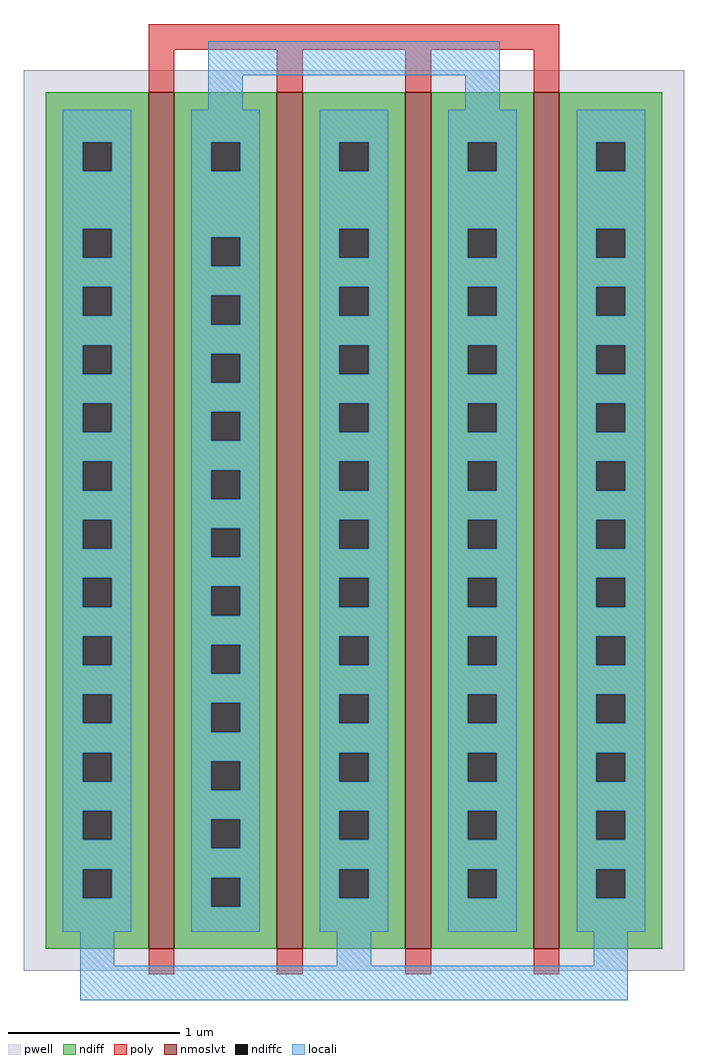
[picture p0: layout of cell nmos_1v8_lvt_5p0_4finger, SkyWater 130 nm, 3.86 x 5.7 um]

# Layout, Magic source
magic
tech sky130A
magscale 1 2
<< pwell >>
rect -1136 -6 -364 1046
<< nmoslvt >>
rect -990 20 -960 1020
rect -840 20 -810 1020
rect -690 20 -660 1020
rect -540 20 -510 1020
<< ndiff >>
rect -1110 962 -990 1020
rect -1110 928 -1067 962
rect -1033 928 -990 962
rect -1110 861 -990 928
rect -1110 827 -1067 861
rect -1033 827 -990 861
rect -1110 793 -990 827
rect -1110 759 -1067 793
rect -1033 759 -990 793
rect -1110 725 -990 759
rect -1110 691 -1067 725
rect -1033 691 -990 725
rect -1110 657 -990 691
rect -1110 623 -1067 657
rect -1033 623 -990 657
rect -1110 589 -990 623
rect -1110 555 -1067 589
rect -1033 555 -990 589
rect -1110 521 -990 555
rect -1110 487 -1067 521
rect -1033 487 -990 521
rect -1110 453 -990 487
rect -1110 419 -1067 453
rect -1033 419 -990 453
rect -1110 385 -990 419
rect -1110 351 -1067 385
rect -1033 351 -990 385
rect -1110 317 -990 351
rect -1110 283 -1067 317
rect -1033 283 -990 317
rect -1110 249 -990 283
rect -1110 215 -1067 249
rect -1033 215 -990 249
rect -1110 181 -990 215
rect -1110 147 -1067 181
rect -1033 147 -990 181
rect -1110 113 -990 147
rect -1110 79 -1067 113
rect -1033 79 -990 113
rect -1110 20 -990 79
rect -960 962 -840 1020
rect -960 928 -917 962
rect -883 928 -840 962
rect -960 851 -840 928
rect -960 817 -917 851
rect -883 817 -840 851
rect -960 783 -840 817
rect -960 749 -917 783
rect -883 749 -840 783
rect -960 715 -840 749
rect -960 681 -917 715
rect -883 681 -840 715
rect -960 647 -840 681
rect -960 613 -917 647
rect -883 613 -840 647
rect -960 579 -840 613
rect -960 545 -917 579
rect -883 545 -840 579
rect -960 511 -840 545
rect -960 477 -917 511
rect -883 477 -840 511
rect -960 443 -840 477
rect -960 409 -917 443
rect -883 409 -840 443
rect -960 375 -840 409
rect -960 341 -917 375
rect -883 341 -840 375
rect -960 307 -840 341
rect -960 273 -917 307
rect -883 273 -840 307
rect -960 239 -840 273
rect -960 205 -917 239
rect -883 205 -840 239
rect -960 171 -840 205
rect -960 137 -917 171
rect -883 137 -840 171
rect -960 103 -840 137
rect -960 69 -917 103
rect -883 69 -840 103
rect -960 20 -840 69
rect -810 962 -690 1020
rect -810 928 -767 962
rect -733 928 -690 962
rect -810 861 -690 928
rect -810 827 -767 861
rect -733 827 -690 861
rect -810 793 -690 827
rect -810 759 -767 793
rect -733 759 -690 793
rect -810 725 -690 759
rect -810 691 -767 725
rect -733 691 -690 725
rect -810 657 -690 691
rect -810 623 -767 657
rect -733 623 -690 657
rect -810 589 -690 623
rect -810 555 -767 589
rect -733 555 -690 589
rect -810 521 -690 555
rect -810 487 -767 521
rect -733 487 -690 521
rect -810 453 -690 487
rect -810 419 -767 453
rect -733 419 -690 453
rect -810 385 -690 419
rect -810 351 -767 385
rect -733 351 -690 385
rect -810 317 -690 351
rect -810 283 -767 317
rect -733 283 -690 317
rect -810 249 -690 283
rect -810 215 -767 249
rect -733 215 -690 249
rect -810 181 -690 215
rect -810 147 -767 181
rect -733 147 -690 181
rect -810 113 -690 147
rect -810 79 -767 113
rect -733 79 -690 113
rect -810 20 -690 79
rect -660 962 -540 1020
rect -660 928 -617 962
rect -583 928 -540 962
rect -660 861 -540 928
rect -660 827 -617 861
rect -583 827 -540 861
rect -660 793 -540 827
rect -660 759 -617 793
rect -583 759 -540 793
rect -660 725 -540 759
rect -660 691 -617 725
rect -583 691 -540 725
rect -660 657 -540 691
rect -660 623 -617 657
rect -583 623 -540 657
rect -660 589 -540 623
rect -660 555 -617 589
rect -583 555 -540 589
rect -660 521 -540 555
rect -660 487 -617 521
rect -583 487 -540 521
rect -660 453 -540 487
rect -660 419 -617 453
rect -583 419 -540 453
rect -660 385 -540 419
rect -660 351 -617 385
rect -583 351 -540 385
rect -660 317 -540 351
rect -660 283 -617 317
rect -583 283 -540 317
rect -660 249 -540 283
rect -660 215 -617 249
rect -583 215 -540 249
rect -660 181 -540 215
rect -660 147 -617 181
rect -583 147 -540 181
rect -660 113 -540 147
rect -660 79 -617 113
rect -583 79 -540 113
rect -660 20 -540 79
rect -510 962 -390 1020
rect -510 928 -467 962
rect -433 928 -390 962
rect -510 861 -390 928
rect -510 827 -467 861
rect -433 827 -390 861
rect -510 793 -390 827
rect -510 759 -467 793
rect -433 759 -390 793
rect -510 725 -390 759
rect -510 691 -467 725
rect -433 691 -390 725
rect -510 657 -390 691
rect -510 623 -467 657
rect -433 623 -390 657
rect -510 589 -390 623
rect -510 555 -467 589
rect -433 555 -390 589
rect -510 521 -390 555
rect -510 487 -467 521
rect -433 487 -390 521
rect -510 453 -390 487
rect -510 419 -467 453
rect -433 419 -390 453
rect -510 385 -390 419
rect -510 351 -467 385
rect -433 351 -390 385
rect -510 317 -390 351
rect -510 283 -467 317
rect -433 283 -390 317
rect -510 249 -390 283
rect -510 215 -467 249
rect -433 215 -390 249
rect -510 181 -390 215
rect -510 147 -467 181
rect -433 147 -390 181
rect -510 113 -390 147
rect -510 79 -467 113
rect -433 79 -390 113
rect -510 20 -390 79
<< ndiffc >>
rect -1067 928 -1033 962
rect -1067 827 -1033 861
rect -1067 759 -1033 793
rect -1067 691 -1033 725
rect -1067 623 -1033 657
rect -1067 555 -1033 589
rect -1067 487 -1033 521
rect -1067 419 -1033 453
rect -1067 351 -1033 385
rect -1067 283 -1033 317
rect -1067 215 -1033 249
rect -1067 147 -1033 181
rect -1067 79 -1033 113
rect -917 928 -883 962
rect -917 817 -883 851
rect -917 749 -883 783
rect -917 681 -883 715
rect -917 613 -883 647
rect -917 545 -883 579
rect -917 477 -883 511
rect -917 409 -883 443
rect -917 341 -883 375
rect -917 273 -883 307
rect -917 205 -883 239
rect -917 137 -883 171
rect -917 69 -883 103
rect -767 928 -733 962
rect -767 827 -733 861
rect -767 759 -733 793
rect -767 691 -733 725
rect -767 623 -733 657
rect -767 555 -733 589
rect -767 487 -733 521
rect -767 419 -733 453
rect -767 351 -733 385
rect -767 283 -733 317
rect -767 215 -733 249
rect -767 147 -733 181
rect -767 79 -733 113
rect -617 928 -583 962
rect -617 827 -583 861
rect -617 759 -583 793
rect -617 691 -583 725
rect -617 623 -583 657
rect -617 555 -583 589
rect -617 487 -583 521
rect -617 419 -583 453
rect -617 351 -583 385
rect -617 283 -583 317
rect -617 215 -583 249
rect -617 147 -583 181
rect -617 79 -583 113
rect -467 928 -433 962
rect -467 827 -433 861
rect -467 759 -433 793
rect -467 691 -433 725
rect -467 623 -433 657
rect -467 555 -433 589
rect -467 487 -433 521
rect -467 419 -433 453
rect -467 351 -433 385
rect -467 283 -433 317
rect -467 215 -433 249
rect -467 147 -433 181
rect -467 79 -433 113
<< poly >>
rect -990 1070 -510 1100
rect -990 1020 -960 1070
rect -840 1020 -810 1070
rect -690 1020 -660 1070
rect -540 1020 -510 1070
rect -990 -10 -960 20
rect -840 -10 -810 20
rect -690 -10 -660 20
rect -540 -10 -510 20
<< locali >>
rect -920 1040 -580 1080
rect -920 1000 -880 1040
rect -620 1000 -580 1040
rect -1090 962 -1010 1000
rect -1090 928 -1067 962
rect -1033 928 -1010 962
rect -1090 861 -1010 928
rect -1090 827 -1067 861
rect -1033 827 -1010 861
rect -1090 793 -1010 827
rect -1090 759 -1067 793
rect -1033 759 -1010 793
rect -1090 725 -1010 759
rect -1090 691 -1067 725
rect -1033 691 -1010 725
rect -1090 657 -1010 691
rect -1090 623 -1067 657
rect -1033 623 -1010 657
rect -1090 589 -1010 623
rect -1090 555 -1067 589
rect -1033 555 -1010 589
rect -1090 521 -1010 555
rect -1090 487 -1067 521
rect -1033 487 -1010 521
rect -1090 453 -1010 487
rect -1090 419 -1067 453
rect -1033 419 -1010 453
rect -1090 385 -1010 419
rect -1090 351 -1067 385
rect -1033 351 -1010 385
rect -1090 317 -1010 351
rect -1090 283 -1067 317
rect -1033 283 -1010 317
rect -1090 249 -1010 283
rect -1090 215 -1067 249
rect -1033 215 -1010 249
rect -1090 181 -1010 215
rect -1090 147 -1067 181
rect -1033 147 -1010 181
rect -1090 113 -1010 147
rect -1090 79 -1067 113
rect -1033 79 -1010 113
rect -1090 40 -1010 79
rect -940 962 -860 1000
rect -940 928 -917 962
rect -883 928 -860 962
rect -940 851 -860 928
rect -940 817 -917 851
rect -883 817 -860 851
rect -940 783 -860 817
rect -940 749 -917 783
rect -883 749 -860 783
rect -940 715 -860 749
rect -940 681 -917 715
rect -883 681 -860 715
rect -940 647 -860 681
rect -940 613 -917 647
rect -883 613 -860 647
rect -940 579 -860 613
rect -940 545 -917 579
rect -883 545 -860 579
rect -940 511 -860 545
rect -940 477 -917 511
rect -883 477 -860 511
rect -940 443 -860 477
rect -940 409 -917 443
rect -883 409 -860 443
rect -940 375 -860 409
rect -940 341 -917 375
rect -883 341 -860 375
rect -940 307 -860 341
rect -940 273 -917 307
rect -883 273 -860 307
rect -940 239 -860 273
rect -940 205 -917 239
rect -883 205 -860 239
rect -940 171 -860 205
rect -940 137 -917 171
rect -883 137 -860 171
rect -940 103 -860 137
rect -940 69 -917 103
rect -883 69 -860 103
rect -940 40 -860 69
rect -790 962 -710 1000
rect -790 928 -767 962
rect -733 928 -710 962
rect -790 861 -710 928
rect -790 827 -767 861
rect -733 827 -710 861
rect -790 793 -710 827
rect -790 759 -767 793
rect -733 759 -710 793
rect -790 725 -710 759
rect -790 691 -767 725
rect -733 691 -710 725
rect -790 657 -710 691
rect -790 623 -767 657
rect -733 623 -710 657
rect -790 589 -710 623
rect -790 555 -767 589
rect -733 555 -710 589
rect -790 521 -710 555
rect -790 487 -767 521
rect -733 487 -710 521
rect -790 453 -710 487
rect -790 419 -767 453
rect -733 419 -710 453
rect -790 385 -710 419
rect -790 351 -767 385
rect -733 351 -710 385
rect -790 317 -710 351
rect -790 283 -767 317
rect -733 283 -710 317
rect -790 249 -710 283
rect -790 215 -767 249
rect -733 215 -710 249
rect -790 181 -710 215
rect -790 147 -767 181
rect -733 147 -710 181
rect -790 113 -710 147
rect -790 79 -767 113
rect -733 79 -710 113
rect -790 40 -710 79
rect -640 962 -560 1000
rect -640 928 -617 962
rect -583 928 -560 962
rect -640 861 -560 928
rect -640 827 -617 861
rect -583 827 -560 861
rect -640 793 -560 827
rect -640 759 -617 793
rect -583 759 -560 793
rect -640 725 -560 759
rect -640 691 -617 725
rect -583 691 -560 725
rect -640 657 -560 691
rect -640 623 -617 657
rect -583 623 -560 657
rect -640 589 -560 623
rect -640 555 -617 589
rect -583 555 -560 589
rect -640 521 -560 555
rect -640 487 -617 521
rect -583 487 -560 521
rect -640 453 -560 487
rect -640 419 -617 453
rect -583 419 -560 453
rect -640 385 -560 419
rect -640 351 -617 385
rect -583 351 -560 385
rect -640 317 -560 351
rect -640 283 -617 317
rect -583 283 -560 317
rect -640 249 -560 283
rect -640 215 -617 249
rect -583 215 -560 249
rect -640 181 -560 215
rect -640 147 -617 181
rect -583 147 -560 181
rect -640 113 -560 147
rect -640 79 -617 113
rect -583 79 -560 113
rect -640 40 -560 79
rect -490 962 -410 1000
rect -490 928 -467 962
rect -433 928 -410 962
rect -490 861 -410 928
rect -490 827 -467 861
rect -433 827 -410 861
rect -490 793 -410 827
rect -490 759 -467 793
rect -433 759 -410 793
rect -490 725 -410 759
rect -490 691 -467 725
rect -433 691 -410 725
rect -490 657 -410 691
rect -490 623 -467 657
rect -433 623 -410 657
rect -490 589 -410 623
rect -490 555 -467 589
rect -433 555 -410 589
rect -490 521 -410 555
rect -490 487 -467 521
rect -433 487 -410 521
rect -490 453 -410 487
rect -490 419 -467 453
rect -433 419 -410 453
rect -490 385 -410 419
rect -490 351 -467 385
rect -433 351 -410 385
rect -490 317 -410 351
rect -490 283 -467 317
rect -433 283 -410 317
rect -490 249 -410 283
rect -490 215 -467 249
rect -433 215 -410 249
rect -490 181 -410 215
rect -490 147 -467 181
rect -433 147 -410 181
rect -490 113 -410 147
rect -490 79 -467 113
rect -433 79 -410 113
rect -490 40 -410 79
rect -1070 0 -1030 40
rect -770 0 -730 40
rect -470 0 -430 40
rect -1070 -40 -430 0
<< end >>
